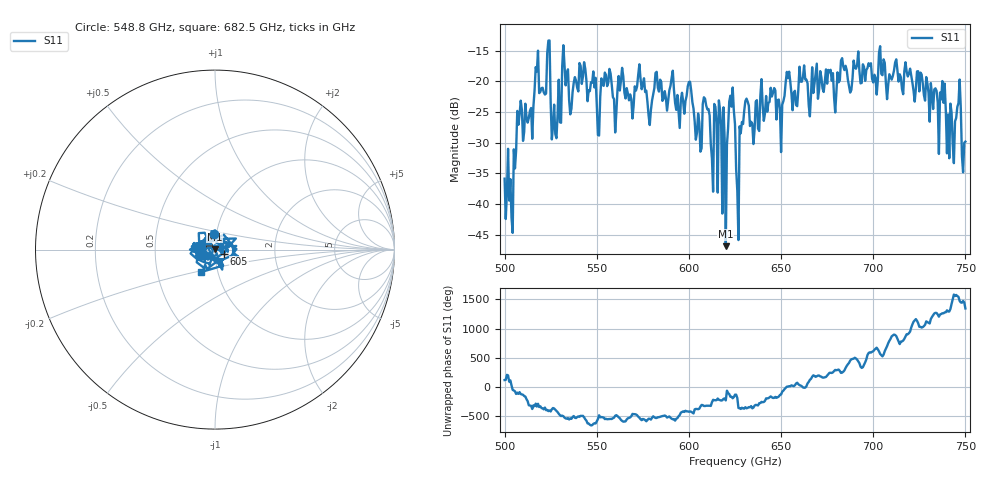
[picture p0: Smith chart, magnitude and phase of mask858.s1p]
!Created with skrf (http://scikit-rf.org).
# GHz S MA R 50.0
!freq magS11 angS11
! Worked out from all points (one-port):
!   401 points, 500 GHz to 750 GHz, reference 50 ohm
!   lowest |S11| = -46.9 dB at 620 GHz (marker M1), VSWR 1.01, Z = 49.7 + j0.366 ohm
!   |S11| at or under -10 dB: start of sweep to end of sweep
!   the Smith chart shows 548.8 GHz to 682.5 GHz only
!   S11 on the Smith chart (normalised r, x): 548.8 GHz: 0.97, +0.17; 605 GHz: 1.10, -0.05; 682.5 GHz: 0.83, -0.21
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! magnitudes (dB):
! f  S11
! 500 GHz  -35.9
! 503.8 GHz  -42.2
! 508.1 GHz  -25.4
! 513.8 GHz  -24.8
! 517.5 GHz  -18.4
! 523.8 GHz  -13.4
! 526.9 GHz  -23.8
! 531.2 GHz  -17.5
! 548.8 GHz  -21.0
! 562.5 GHz  -21.5
! 593.8 GHz  -22.2
! 600.6 GHz  -20.1
! 605 GHz  -25.3
! 608.8 GHz  -22.8
! 611.9 GHz  -30.3
! 620 GHz  -46.9
! 623.1 GHz  -24.1
! 625 GHz  -27.0
! 626.9 GHz  -45.9
! 631.2 GHz  -22.8
! 656.2 GHz  -24.7
! 682.5 GHz  -16.6
! 687.5 GHz  -21.8
! 718.8 GHz  -19.2
! 737.5 GHz  -20.0
! 742.5 GHz  -25.1
! 746.2 GHz  -23.6
! 750 GHz  -29.8
